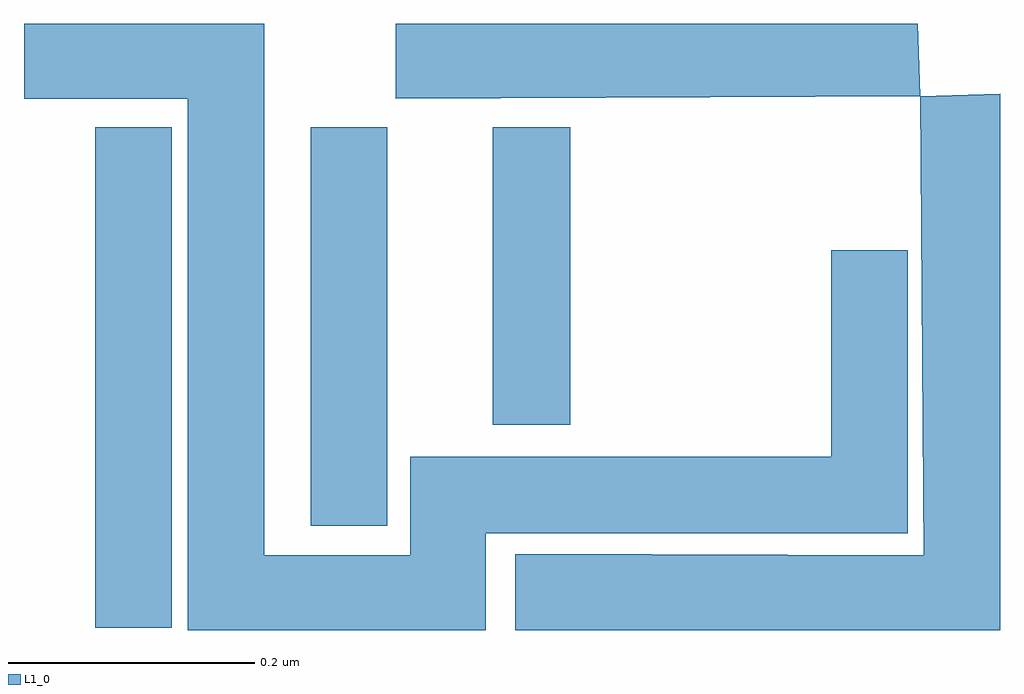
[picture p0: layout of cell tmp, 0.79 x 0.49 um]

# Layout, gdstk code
import gdstk
lib = gdstk.Library(unit=1e-6, precision=1e-09)
def R(c, l, rs):  # rectangles x0, y0, x1, y1
    for r in rs: c.add(gdstk.rectangle(r[:2], r[2:], *l))
def P(c, l, *ps):  # polygons
    for p in ps: c.add(gdstk.Polygon(p, *l))
L1_0 = (1, 0)

tmp = lib.new_cell('tmp')
R(tmp, L1_0, [(0.955,0.574,1.017,0.981), (1.13,0.657,1.192,0.981), (1.278,0.739,1.341,0.981)])
P(tmp, L1_0, [(1.092,1.065),(0.897,1.065),(0.897,1.004),(1.03,1.004),(1.03,0.572),(1.272,0.572),(1.272,0.651),(1.615,0.651),(1.615,0.881),(1.553,0.881),(1.553,0.713),(1.211,0.713),(1.211,0.633),(1.092,0.633)],
  [(1.623,1.065),(1.199,1.065),(1.199,1.004),(1.625,1.006)],
  [(1.69,1.008),(1.625,1.006),(1.628,0.633),(1.407,0.634),(1.296,0.634),(1.296,0.572),(1.69,0.572)])

lib.write_gds('tmp.gds')
